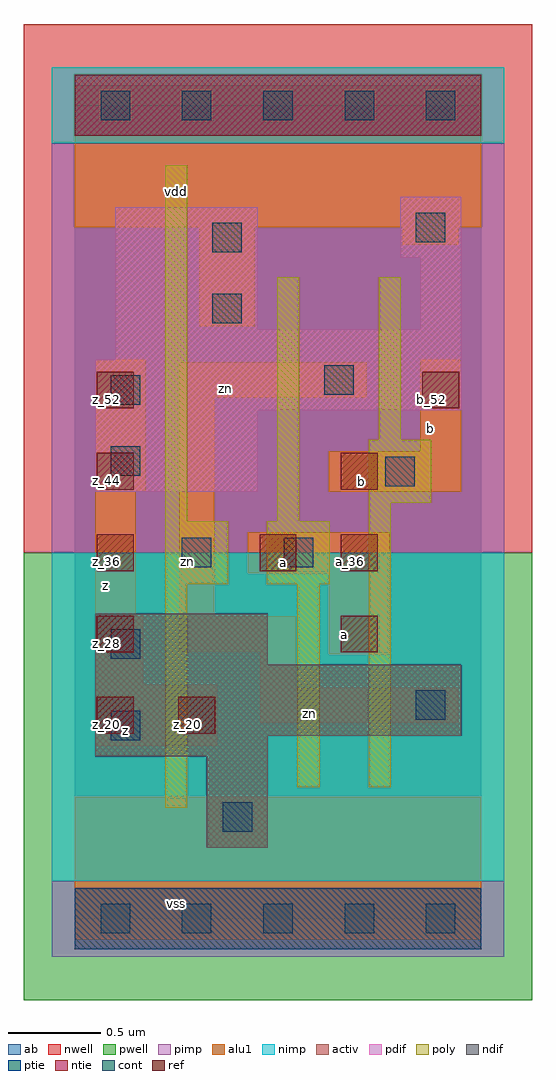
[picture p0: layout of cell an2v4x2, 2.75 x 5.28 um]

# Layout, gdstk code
import gdstk
lib = gdstk.Library(unit=1e-6, precision=2.5e-09)
def R(c, l, rs):  # rectangles x0, y0, x1, y1
    for r in rs: c.add(gdstk.rectangle(r[:2], r[2:], *l))
def A(c, l, x, y, w, h, nx, ny, dx, dy):  # array of equal rectangles
    R(c, l, [(x+i*dx, y+j*dy, x+i*dx+w, y+j*dy+h) for i in range(nx) for j in range(ny)])
ndif = (3, 0)
pdif = (4, 0)
ntie = (5, 0)
ptie = (6, 0)
ref = (24, 0)
cont = (25, 0)
pwell = (41, 0)
nwell = (42, 0)
activ = (43, 0)
pimp = (44, 0)
nimp = (45, 0)
poly = (46, 0)
alu1 = (49, 0)
ab = (63, 0)

an2v4x2 = lib.new_cell('an2v4x2')
R(an2v4x2, ndif, [(0.715,0.385,1.045,0.88), (0.11,0.88,1.045,0.99), (0.11,0.99,2.09,1.375), (0.11,1.375,1.045,1.65)])
R(an2v4x2, pdif, [(0.11,2.31,0.99,2.75), (0.11,2.75,2.09,3.025), (0.22,3.025,2.09,3.19), (0.22,3.19,0.99,3.85), (1.87,3.19,2.09,3.575), (1.76,3.575,2.09,3.905)])
R(an2v4x2, ntie, [(0,4.235,2.2,4.565)])
R(an2v4x2, ptie, [(0,-0.165,2.2,0.165)])
A(an2v4x2, ref, 0.12, 1, 0.2, 0.2, 1, 5, 0, 0.44)
A(an2v4x2, ref, 1.44, 1.44, 0.2, 0.2, 1, 3, 0, 0.44)
R(an2v4x2, ref, [(0.56,1,0.76,1.2), (1,1.88,1.2,2.08), (1.88,2.76,2.08,2.96)])
A(an2v4x2, cont, 0.14, -0.08, 0.16, 0.16, 5, 2, 0.44, 4.4)
R(an2v4x2, cont, [(0.8,0.47,0.96,0.63), (0.195,0.965,0.355,1.125), (1.845,1.075,2.005,1.235), (0.195,1.405,0.355,1.565), (0.58,1.9,0.74,2.06), (1.13,1.9,1.29,2.06), (1.68,2.34,1.84,2.5), (0.195,2.395,0.355,2.555), (0.195,2.78,0.355,2.94), (1.35,2.835,1.51,2.995), (0.745,3.22,0.905,3.38), (0.745,3.605,0.905,3.765), (1.845,3.66,2.005,3.82)])
R(an2v4x2, pwell, [(-0.275,-0.44,2.475,1.98)])
R(an2v4x2, nwell, [(-0.275,1.98,2.475,4.84)])
R(an2v4x2, activ, [(0,-0.165,2.2,0.165), (0.715,0.385,1.045,0.88), (0.11,0.88,1.045,0.99), (0.11,0.99,2.09,1.375), (0.11,1.375,1.045,1.65), (0.11,2.31,0.99,2.75), (0.11,2.75,2.09,3.025), (0.22,3.025,2.09,3.19), (0.22,3.19,0.99,3.85), (1.87,3.19,2.09,3.575), (1.76,3.575,2.09,3.905), (0,4.235,2.2,4.565)])
R(an2v4x2, pimp, [(-0.125,-0.205,2.325,0.205), (-0.125,1.98,2.325,4.195)])
R(an2v4x2, nimp, [(-0.125,0.205,2.325,1.98), (-0.125,4.195,2.325,4.605)])
R(an2v4x2, poly, [(0.49,0.6,0.61,1.81), (1.205,0.71,1.325,1.81), (1.59,0.71,1.71,2.25), (0.49,1.81,0.83,2.15), (1.04,1.81,1.38,2.15), (0.49,2.15,0.61,4.075), (1.095,2.15,1.215,3.47), (1.59,2.25,1.93,2.59), (1.645,2.59,1.765,3.47)])
R(an2v4x2, alu1, [(0,-0.11,2.2,0.66), (0.11,0.935,0.77,1.265), (1.005,1.06,2.075,1.25), (1.005,1.25,1.195,1.445), (0.11,1.265,0.37,1.635), (1.375,1.43,1.705,1.87), (0.565,1.445,1.195,1.635), (0.11,1.635,0.33,2.31), (0.565,1.635,0.755,2.82), (0.935,1.87,1.705,2.09), (0.11,2.31,0.385,3.025), (1.375,2.31,2.09,2.53), (1.87,2.53,2.09,3.025), (0.565,2.82,1.58,3.01), (0.675,3.205,0.975,3.74), (1.775,3.645,2.075,3.74), (0,3.74,2.2,4.51)])
R(an2v4x2, ab, [(0,0,2.2,4.4)])
an2v4x2.add(gdstk.Label('vss', (0.55,0.0825), layer=49, texttype=0))
an2v4x2.add(gdstk.Label('zn', (1.2725,1.1075), layer=49, texttype=0))
an2v4x2.add(gdstk.Label('a', (1.4575,1.54), layer=49, texttype=0))
an2v4x2.add(gdstk.Label('z', (0.275,1.0175), layer=49, texttype=0))
an2v4x2.add(gdstk.Label('a', (1.1275,1.925), layer=49, texttype=0))
an2v4x2.add(gdstk.Label('b', (1.5525,2.365), layer=49, texttype=0))
an2v4x2.add(gdstk.Label('b', (1.925,2.6525), layer=49, texttype=0))
an2v4x2.add(gdstk.Label('zn', (0.6125,1.93), layer=49, texttype=0))
an2v4x2.add(gdstk.Label('z', (0.165,1.8025), layer=49, texttype=0))
an2v4x2.add(gdstk.Label('zn', (0.8175,2.8675), layer=49, texttype=0))
an2v4x2.add(gdstk.Label('vdd', (0.55,3.9325), layer=49, texttype=0))
an2v4x2.add(gdstk.Label('z_20', (0.61,1.05), layer=24, texttype=0))
an2v4x2.add(gdstk.Label('a_36', (1.05,1.93), layer=24, texttype=0))
an2v4x2.add(gdstk.Label('a_28', (1.49,1.49), layer=24, texttype=0))
an2v4x2.add(gdstk.Label('a_36', (1.49,1.93), layer=24, texttype=0))
an2v4x2.add(gdstk.Label('b_44', (1.49,2.37), layer=24, texttype=0))
an2v4x2.add(gdstk.Label('b_52', (1.93,2.81), layer=24, texttype=0))
an2v4x2.add(gdstk.Label('z_20', (0.17,1.05), layer=24, texttype=0))
an2v4x2.add(gdstk.Label('z_28', (0.17,1.49), layer=24, texttype=0))
an2v4x2.add(gdstk.Label('z_36', (0.17,1.93), layer=24, texttype=0))
an2v4x2.add(gdstk.Label('z_44', (0.17,2.37), layer=24, texttype=0))
an2v4x2.add(gdstk.Label('z_52', (0.17,2.81), layer=24, texttype=0))

lib.write_gds('an2v4x2.gds')
